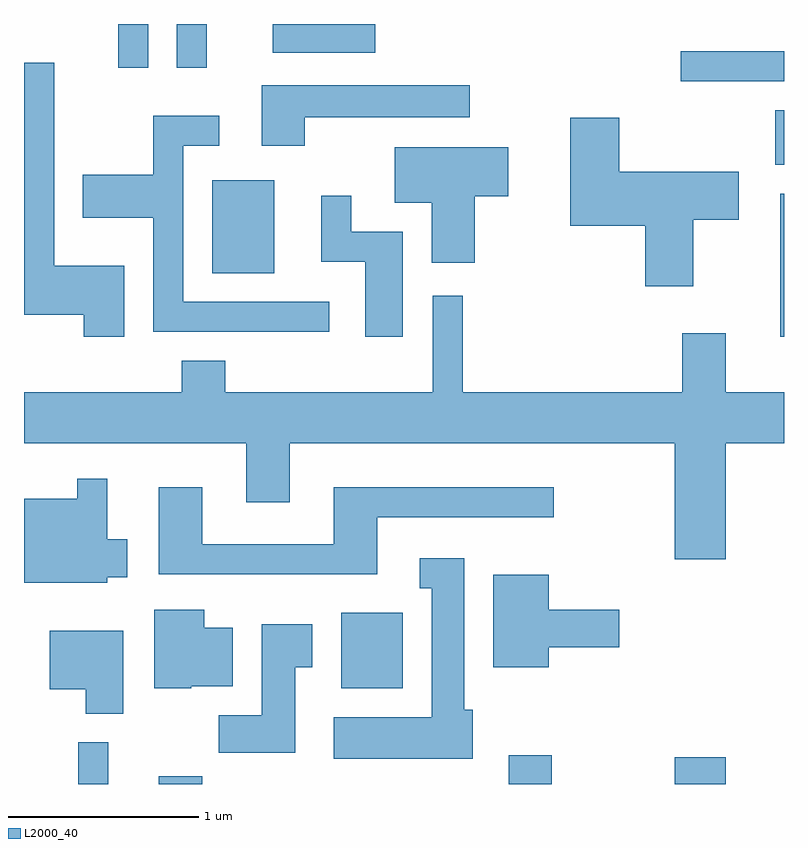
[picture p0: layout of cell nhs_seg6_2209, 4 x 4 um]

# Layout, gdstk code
import gdstk
lib = gdstk.Library(unit=1e-6, precision=1e-09)
def R(c, l, rs):  # rectangles x0, y0, x1, y1
    for r in rs: c.add(gdstk.rectangle(r[:2], r[2:], *l))
def P(c, l, *ps):  # polygons
    for p in ps: c.add(gdstk.Polygon(p, *l))
L2000_40 = (2000, 40)

nhs_seg6_2209 = lib.new_cell('nhs_seg6_2209')
R(nhs_seg6_2209, L2000_40, [(251.896,1628.162,252.054,1628.383), (252.321,1628.162,252.549,1628.204), (254.161,1628.162,254.389,1628.314), (255.036,1628.162,255.304,1628.304), (253.281,1628.666,253.604,1629.064), (255.591,1630.516,255.611,1631.269), (252.601,1630.851,252.929,1631.339), (255.566,1631.421,255.611,1631.709), (255.068,1631.861,255.611,1632.019), (252.106,1631.933,252.264,1632.162), (252.416,1631.933,252.574,1632.162), (252.921,1632.011,253.459,1632.162)])
P(nhs_seg6_2209, L2000_40, [(252.139,1630.889),(251.769,1630.889),(251.769,1631.958),(251.611,1631.958),(251.611,1630.631),(251.926,1630.631),(251.926,1630.516),(252.139,1630.516)],
  [(253.089,1631.671),(253.958,1631.671),(253.958,1631.839),(252.861,1631.839),(252.861,1631.521),(253.089,1631.521)],
  [(253.218,1630.699),(252.449,1630.699),(252.449,1631.521),(252.638,1631.521),(252.638,1631.679),(252.291,1631.679),(252.291,1631.369),(251.921,1631.369),(251.921,1631.141),(252.291,1631.141),(252.291,1630.541),(253.218,1630.541)],
  [(255.134,1631.131),(255.374,1631.131),(255.374,1631.384),(254.744,1631.384),(254.744,1631.669),(254.486,1631.669),(254.486,1631.101),(254.881,1631.101),(254.881,1630.781),(255.134,1630.781)],
  [(253.984,1631.256),(254.159,1631.256),(254.159,1631.514),(253.561,1631.514),(253.561,1631.221),(253.756,1631.221),(253.756,1630.906),(253.984,1630.906)],
  [(253.604,1631.069),(253.334,1631.069),(253.334,1631.258),(253.176,1631.258),(253.176,1630.911),(253.406,1630.911),(253.406,1630.516),(253.604,1630.516)],
  [(255.304,1629.956),(255.611,1629.956),(255.611,1630.224),(255.304,1630.224),(255.304,1630.534),(255.076,1630.534),(255.076,1630.224),(253.919,1630.224),(253.919,1630.733),(253.761,1630.733),(253.761,1630.224),(252.669,1630.224),(252.669,1630.389),(252.441,1630.389),(252.441,1630.224),(251.611,1630.224),(251.611,1629.956),(252.781,1629.956),(252.781,1629.646),(253.009,1629.646),(253.009,1629.956),(255.036,1629.956),(255.036,1629.346),(255.304,1629.346)],
  [(252.049,1629.251),(252.154,1629.251),(252.154,1629.449),(252.049,1629.449),(252.049,1629.768),(251.891,1629.768),(251.891,1629.664),(251.611,1629.664),(251.611,1629.221),(252.049,1629.221)],
  [(253.469,1629.566),(254.398,1629.566),(254.398,1629.724),(253.241,1629.724),(253.241,1629.424),(252.549,1629.424),(252.549,1629.724),(252.321,1629.724),(252.321,1629.266),(253.469,1629.266)],
  [(253.974,1628.554),(253.929,1628.554),(253.929,1629.349),(253.693,1629.349),(253.693,1629.191),(253.756,1629.191),(253.756,1628.514),(253.241,1628.514),(253.241,1628.296),(253.974,1628.296)],
  [(254.374,1628.881),(254.744,1628.881),(254.744,1629.079),(254.374,1629.079),(254.374,1629.264),(254.081,1629.264),(254.081,1628.776),(254.374,1628.776)],
  [(252.49,1628.676),(252.709,1628.676),(252.709,1628.984),(252.559,1628.984),(252.559,1629.079),(252.296,1629.079),(252.296,1628.666),(252.49,1628.666)],
  [(253.039,1628.776),(253.129,1628.776),(253.129,1629.004),(252.861,1629.004),(252.861,1628.524),(252.636,1628.524),(252.636,1628.326),(253.039,1628.326)],
  [(252.134,1628.969),(251.746,1628.969),(251.746,1628.661),(251.936,1628.661),(251.936,1628.531),(252.134,1628.531)])

lib.write_gds('nhs_seg6_2209.gds')
